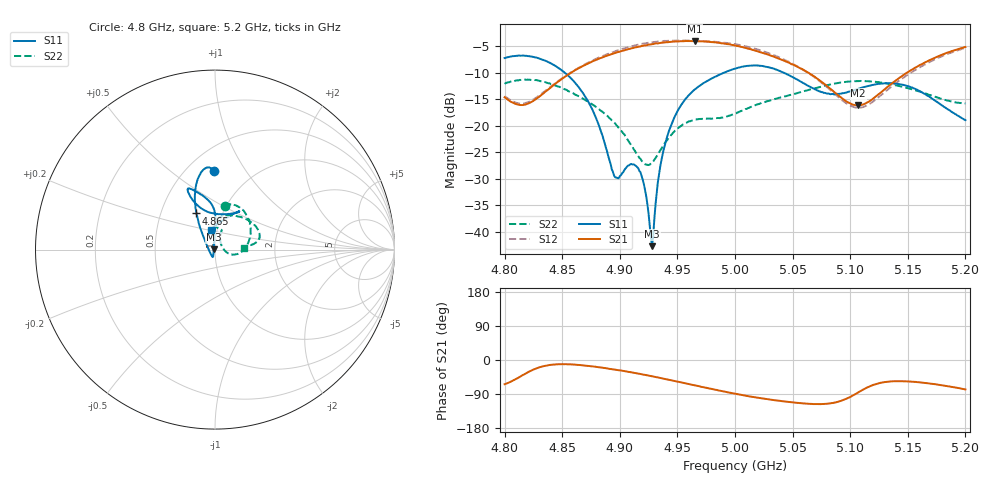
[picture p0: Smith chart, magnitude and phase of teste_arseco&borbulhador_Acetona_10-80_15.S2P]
! Network Analyzer HP8722D
! Hewlett-Packard
! Data name: Linha & Wilkinson
! Saver's name: Rodrigo Anjos
! Comments: Teste da utilização de aquisição
! continua pelo VNA HP8722D
! Time and date: 25/4/2025 15:23
!  Frequency  S11  S21  S12  S22
# HZ  S  MA R 50
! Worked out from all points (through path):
!   401 points, 4.8 GHz to 5.2 GHz, reference 50 ohm
!   highest |S21| = -3.99 dB at 4.965 GHz (marker M1); lowest = -16.1 dB at 5.107 GHz (marker M2)
!   lowest |S11| = -42.8 dB at 4.928 GHz (marker M3), VSWR 1.01, Z = 49.3 + j0.0768 ohm
!   |S11| at or under -10 dB: 4.852 GHz to 4.99 GHz (137.8 MHz wide, 2.8 % of centre); 5.043 GHz to end of sweep
!   |S22| runs from -27.4 to -11.3 dB; largest |S21 - S12| = 1.2
!   S11 on the Smith chart (normalised r, x): 4.8 GHz: 0.67, +0.73; 4.865 GHz: 0.75, +0.32; 5.2 GHz: 0.94, +0.21
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4.8e9  0.4358 90.7  0.1856 -63.8  0.1909 69.5  0.2488 77.5
4.82e9  0.4549 97.0  0.1609 -32.6  0.1664 98.1  0.273 61.7
4.844e9  0.3679 106.9  0.2491 -11.7  0.2522 119.1  0.2393 35.8
4.865e9  0.2263 117.1  0.3524 -13.2  0.3568 120.9  0.1881 11.4
4.867e9  0.2108 118.3  0.3624 -13.9  0.3666 120.7  0.1835 9.0
4.88e9  0.1135 128.3  0.4211 -18.5  0.4309 118.3  0.1488 -4.9
4.896e9  0.03252 -169.0  0.4878 -25.5  0.5053 113.2  0.1051 -15.4
4.91e9  0.04352 -108.1  0.5385 -32.5  0.5633 107.0  0.06515 -12.5
4.917e9  0.03733 -105.0  0.5602 -36.5  0.5874 103.5  0.04959 -0.2
4.921e9  0.02768 -109.1  0.5726 -38.8  0.5979 101.3  0.04426 13.1
4.928e9  0.007281 173.9  0.5901 -43.0  0.6156 97.0  0.04534 40.5
4.934e9  0.03436 99.2  0.603 -46.8  0.6264 93.2  0.05586 57.6
4.939e9  0.06496 92.7  0.6125 -49.9  0.6335 90.0  0.068 65.1
4.946e9  0.111 89.8  0.6224 -54.4  0.6366 85.6  0.08503 69.1
4.965e9  0.2196 91.0  0.6315 -67.0  0.6365 73.4  0.114 70.8
5e9  0.3468 109.0  0.5725 -89.1  0.5902 50.8  0.1304 87.7
5.03e9  0.3549 115.1  0.4644 -104.2  0.4803 33.8  0.1727 85.3
5.067e9  0.2278 105.3  0.3006 -116.0  0.2985 23.4  0.222 57.1
5.107e9  0.223 64.4  0.156 -85.5  0.1477 57.6  0.2639 24.2
5.134e9  0.2521 57.6  0.2399 -56.9  0.2256 88.6  0.2485 12.5
5.168e9  0.1904 69.6  0.4118 -61.7  0.395 85.2  0.1964 7.0
5.2e9  0.1128 100.4  0.5544 -77.6  0.5425 70.1  0.1623 3.7
